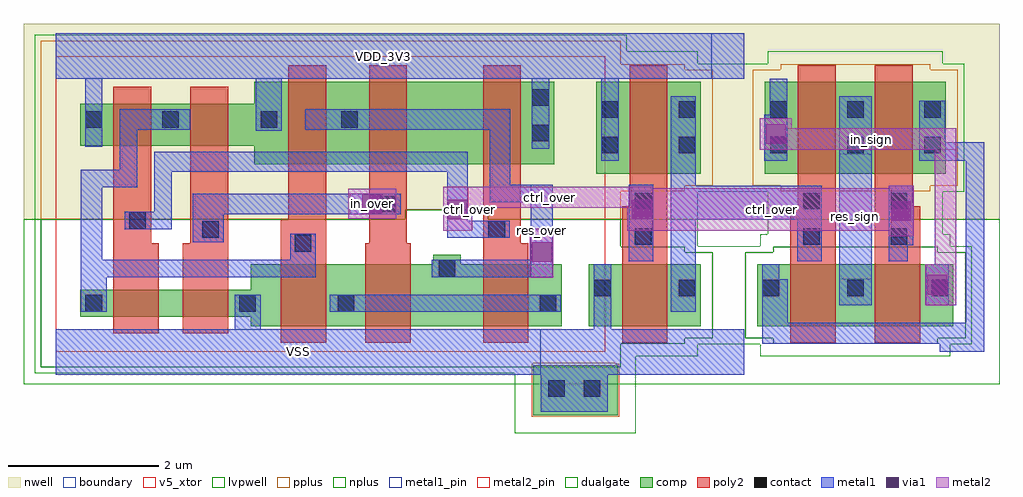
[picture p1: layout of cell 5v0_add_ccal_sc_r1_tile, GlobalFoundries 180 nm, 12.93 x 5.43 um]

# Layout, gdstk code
import gdstk
lib = gdstk.Library(unit=1e-6, precision=1e-09)
def R(c, l, rs):  # rectangles x0, y0, x1, y1
    for r in rs: c.add(gdstk.rectangle(r[:2], r[2:], *l))
def A(c, l, x, y, w, h, nx, ny, dx, dy):  # array of equal rectangles
    R(c, l, [(x+i*dx, y+j*dy, x+i*dx+w, y+j*dy+h) for i in range(nx) for j in range(ny)])
def P(c, l, *ps):  # polygons
    for p in ps: c.add(gdstk.Polygon(p, *l))
boundary = (0, 0)
nwell = (21, 0)
comp = (22, 0)
poly2 = (30, 0)
pplus = (31, 0)
nplus = (32, 0)
contact = (33, 0)
metal1 = (34, 0)
metal1_pin = (34, 10)
via1 = (35, 0)
metal2 = (36, 0)
metal2_pin = (36, 10)
dualgate = (55, 0)
v5_xtor = (112, 1)
lvpwell = (204, 0)

gf180mcu_fd_sc_mcu7t5v0_ = lib.new_cell('gf180mcu_fd_sc_mcu7t5v0__xnor2_1')
R(gf180mcu_fd_sc_mcu7t5v0_, boundary, [(0,0,7.28,3.92)])
P(gf180mcu_fd_sc_mcu7t5v0_, nwell, [(-0.43,1.76),(-0.43,4.35),(7.71,4.35),(7.71,1.76),(5.73,1.76),(5.73,1.885),(4.63,1.885),(4.63,1.76)])
P(gf180mcu_fd_sc_mcu7t5v0_, comp, [(2.63,2.485),(2.63,2.73),(0.32,2.73),(0.32,3.29),(2.63,3.29),(2.63,3.58),(6.6,3.58),(6.6,2.485)],
  [(2.58,0.34),(2.58,0.465),(0.32,0.465),(0.32,0.825),(2.58,0.825),(2.58,1.16),(5,1.16),(5,1.285),(5.36,1.285),(5.36,1.16),(6.7,1.16),(6.7,0.34)])
P(gf180mcu_fd_sc_mcu7t5v0_, poly2, [(0.76,0.245),(0.76,3.51),(1.26,3.51),(1.26,1.44),(1.36,1.44),(1.36,0.245)],
  [(1.68,0.245),(1.68,1.44),(1.78,1.44),(1.78,3.51),(2.28,3.51),(2.28,0.245)],
  [(2.98,0.12),(2.98,1.75),(3.08,1.75),(3.08,3.8),(3.58,3.8),(3.58,0.12)],
  [(4.1,0.12),(4.1,1.44),(4.15,1.44),(4.15,3.8),(4.65,3.8),(4.65,1.44),(4.7,1.44),(4.7,0.12)],
  [(5.66,0.12),(5.66,3.8),(6.16,3.8),(6.16,1.44),(6.26,1.44),(6.26,0.12)])
P(gf180mcu_fd_sc_mcu7t5v0_, pplus, [(-0.2,1.76),(-0.2,4.12),(7.48,4.12),(7.48,1.76),(5.73,1.76),(5.73,1.885),(4.63,1.885),(4.63,1.76)])
P(gf180mcu_fd_sc_mcu7t5v0_, nplus, [(-0.2,-0.2),(-0.2,1.76),(4.63,1.76),(4.63,1.885),(5.73,1.885),(5.73,1.76),(7.48,1.76),(7.48,-0.2)])
R(gf180mcu_fd_sc_mcu7t5v0_, contact, [(0.39,0.535,0.61,0.755), (2.43,0.535,2.65,0.755), (3.73,0.535,3.95,0.755), (6.41,0.535,6.63,0.755), (5.07,0.995,5.29,1.215), (3.165,1.33,3.385,1.55), (1.935,1.51,2.155,1.73), (5.73,1.515,5.95,1.735), (0.97,1.63,1.19,1.85), (4.29,1.85,4.51,2.07), (6.31,2.79,6.53,3.01), (0.39,2.97,0.61,3.19), (1.41,2.97,1.63,3.19), (2.71,2.97,2.93,3.19), (3.78,2.97,4,3.19), (6.31,3.26,6.53,3.48)])
R(gf180mcu_fd_sc_mcu7t5v0_, metal1, [(3.63,0.53,6.69,0.76)])
P(gf180mcu_fd_sc_mcu7t5v0_, metal1, [(0.33,0.53),(0.33,2.415),(0.845,2.415),(0.845,3.215),(1.78,3.215),(1.78,2.945),(1.075,2.945),(1.075,2.18),(0.615,2.18),(0.615,1.22),(3.105,1.22),(3.105,1.565),(3.445,1.565),(3.445,0.99),(0.67,0.99),(0.67,0.53)],
  [(1.815,1.45),(1.815,2.095),(4.57,2.095),(4.57,1.825),(2.22,1.825),(2.22,1.45)],
  [(5.185,1.51),(5.185,2.385),(1.535,2.385),(1.535,1.625),(0.91,1.625),(0.91,1.855),(1.305,1.855),(1.305,2.655),(5.455,2.655),(5.455,1.74),(6.01,1.74),(6.01,1.51)],
  [(4.98,0.99),(4.98,1.22),(6.29,1.22),(6.29,1.98),(5.745,1.98),(5.745,2.945),(3.305,2.945),(3.305,3.215),(6.02,3.215),(6.02,2.215),(6.58,2.215),(6.58,0.99)],
  [(0,-0.3),(0,0.3),(2.37,0.3),(2.37,0.76),(2.71,0.76),(2.71,0.3),(7.28,0.3),(7.28,-0.3)],
  [(6.305,2.69),(6.305,3.62),(2.99,3.62),(2.99,2.93),(2.65,2.93),(2.65,3.62),(0.615,3.62),(0.615,2.72),(0.385,2.72),(0.385,3.62),(0,3.62),(0,4.22),(7.28,4.22),(7.28,3.62),(6.535,3.62),(6.535,2.69)])
R(gf180mcu_fd_sc_mcu7t5v0_, dualgate, [(-0.28,-0.28,7.56,4.2)])
R(gf180mcu_fd_sc_mcu7t5v0_, v5_xtor, [(0,0,7.28,3.92)])
P(gf180mcu_fd_sc_mcu7t5v0_, lvpwell, [(-0.43,-0.43),(-0.43,1.76),(4.63,1.76),(4.63,1.885),(5.73,1.885),(5.73,1.76),(7.71,1.76),(7.71,-0.43)])
gf180mcu_fd_sc_mcu7t5v0_.add(gdstk.Label('VDD', (0.5,3.57), layer=34, texttype=10))
gf180mcu_fd_sc_mcu7t5v0_.add(gdstk.Label('VSS', (2.54,0.35), layer=34, texttype=10))
gf180mcu_fd_sc_mcu7t5v0_.add(gdstk.Label('ZN', (5.88,2.52), layer=34, texttype=10))
gf180mcu_fd_sc_mcu7t5v0_.add(gdstk.Label('A1', (3.08,1.96), layer=34, texttype=10))
gf180mcu_fd_sc_mcu7t5v0_.add(gdstk.Label('A2', (3.64,2.52), layer=34, texttype=10))
gf180mcu_fd_sc_mcu7t5v0_.add(gdstk.Label('& Vendor GLOBALFOUNDRIES', (0,2), layer=63, texttype=63))
gf180mcu_fd_sc_mcu7t5v0_.add(gdstk.Label('& Product GF018hv5v_mcu_sc7', (0,1.5), layer=63, texttype=63))
gf180mcu_fd_sc_mcu7t5v0_.add(gdstk.Label('& Version 2015q2v1', (0,1), layer=63, texttype=63))
gf180mcu_fd_sc_mcu7t5v0_.add(gdstk.Label('& Metric 1.00', (0,0.5), layer=63, texttype=63))
gf180mcu_fd_sc_mcu7t5v0_.add(gdstk.Label('VNW', (0.345,3.92), layer=21, texttype=10))
gf180mcu_fd_sc_mcu7t5v0_.add(gdstk.Label('VPW', (0.34,-0.085), layer=204, texttype=10))

c_5v0_add_ccal_sc_r1_tile = lib.new_cell('5v0_add_ccal_sc_r1_tile')
R(c_5v0_add_ccal_sc_r1_tile, nwell, [(-2.95,1.2,3.1,3.79)])
R(c_5v0_add_ccal_sc_r1_tile, comp, [(-3.08,-1.4,-1.96,-0.735), (-2.34,-0.22,-0.86,0.6), (-0.11,-0.22,2.49,0.6), (-2.24,1.8,-0.86,3.02), (-0.01,1.8,2.39,3.02)])
R(c_5v0_add_ccal_sc_r1_tile, poly2, [(-1.9,-0.44,-1.3,1.37), (0.33,-0.44,0.93,1.37), (1.45,-0.44,2.05,1.37), (-1.8,1.37,-1.3,3.24), (0.43,1.37,0.93,3.24), (1.45,1.37,1.95,3.24)])
R(c_5v0_add_ccal_sc_r1_tile, pplus, [(-3.1,-1.42,-1.94,-0.715), (-3.075,-0.715,-1.995,-0.705), (-2.03,1.57,-1.07,1.64), (0.2,1.57,2.18,1.64), (-2.4,1.64,-0.7,1.765), (-0.17,1.64,2.55,3.18), (-2.64,1.765,-0.7,3.18), (-2.03,3.18,-1.07,3.25), (0.2,3.18,2.18,3.25)])
R(c_5v0_add_ccal_sc_r1_tile, nplus, [(-2.13,-0.45,-1.07,-0.38), (0.1,-0.45,2.28,-0.38), (-2.54,-0.38,-0.7,0.76), (-0.27,-0.38,2.65,0.76), (-2.13,0.76,-1.07,0.83), (0.1,0.76,2.28,0.83)])
A(c_5v0_add_ccal_sc_r1_tile, contact, -0.04, 0.175, 0.22, 0.22, 3, 1, 1.12, 0)
A(c_5v0_add_ccal_sc_r1_tile, contact, 0.06, 2.07, 0.22, 0.22, 3, 2, 1.02, 0.47)
R(c_5v0_add_ccal_sc_r1_tile, contact, [(-2.88,-1.155,-2.66,-0.935), (-2.41,-1.155,-2.19,-0.935), (-2.27,0.175,-2.05,0.395), (-1.15,0.175,-0.93,0.395), (-1.73,0.86,-1.51,1.08), (0.5,0.86,0.72,1.08), (1.66,0.86,1.88,1.08), (-1.73,1.33,-1.51,1.55), (0.5,1.33,0.72,1.55), (1.66,1.33,1.88,1.55), (-2.17,2.07,-1.95,2.29), (-1.15,2.07,-0.93,2.29), (-2.17,2.54,-1.95,2.76), (-1.15,2.54,-0.93,2.76)])
R(c_5v0_add_ccal_sc_r1_tile, metal1, [(-2.98,-1.35,-2.09,-0.86), (-9.4,-0.86,-0.28,-0.26), (2.31,-0.555,2.895,-0.45), (-0.045,-0.45,2.895,-0.175), (-2.275,-0.26,-2.045,0.6), (-0.045,-0.175,0.295,0.4), (2.655,-0.175,2.895,1.97), (-1.255,-0.03,-0.925,1.2), (0.975,0.06,1.405,2.83), (2.125,0.06,2.425,0.6), (-0.045,0.4,0.185,0.6), (-3.11,0.43,-2.82,1.655), (-1.81,0.64,-1.485,1.655), (0.42,0.64,0.745,1.2), (1.635,0.64,1.885,0.855), (1.635,0.855,1.96,1.64), (-4.21,1.055,-3.945,1.595), (-1.255,1.2,0.745,1.64), (-5.51,1.265,-4.91,1.535), (-1.255,1.64,-0.925,2.83), (-2.175,1.97,-1.945,3.06), (-0.015,1.97,0.285,2.585), (2.04,1.97,2.895,2.22), (2.04,2.22,2.38,2.765), (0.055,2.585,0.285,3.06), (-9.4,3.06,-0.28,3.66)])
R(c_5v0_add_ccal_sc_r1_tile, metal1_pin, [(-9.4,-0.86,-2.98,-0.26), (0.975,0.4,1.405,2.065), (-3.11,0.43,-2.82,1.655), (-9.4,3.06,-0.71,3.66)])
R(c_5v0_add_ccal_sc_r1_tile, via1, [(2.145,0.2,2.405,0.46), (-3.095,0.635,-2.835,0.895), (1.67,1.175,1.93,1.435), (-4.21,1.195,-3.95,1.455), (-1.77,1.195,-1.51,1.455), (-5.34,1.27,-5.08,1.53), (0.005,2.195,0.265,2.455)])
R(c_5v0_add_ccal_sc_r1_tile, metal2, [(2.115,0.06,2.525,0.6), (-3.11,0.425,-2.82,0.43), (-3.12,0.43,-2.81,1.07), (2.245,0.6,2.525,2.12), (1.63,0.97,1.965,1.045), (-4.27,1.045,-3.885,1.35), (-1.83,1.045,1.965,1.35), (-5.525,1.205,-4.895,1.6), (-4.27,1.35,1.965,1.605), (-4.27,1.605,-1.485,1.63), (1.63,1.605,1.965,1.64), (-0.075,2.12,2.525,2.4), (-0.075,2.4,0.345,2.535)])
R(c_5v0_add_ccal_sc_r1_tile, metal2_pin, [(-1.505,1.045,1.67,1.605), (-5.51,1.265,-4.91,1.535), (-3.945,1.35,-1.77,1.63), (0.285,2.12,2.525,2.4)])
R(c_5v0_add_ccal_sc_r1_tile, dualgate, [(-3.32,-1.64,-1.72,-0.62), (-3.32,-0.62,-0.9,-0.495), (-0.07,-0.62,2.45,-0.46), (-2.74,-0.495,-0.9,-0.46), (-2.58,-0.46,2.73,0.84), (-2.3,0.84,-0.9,1), (-0.07,0.84,2.45,1), (-2.2,1,-0.9,1.56), (0.03,1,2.35,1.56), (-2.84,1.56,2.63,1.685), (-2.56,1.685,2.63,3.26), (-2.2,3.26,-0.9,3.42), (0.03,3.26,2.35,3.42)])
R(c_5v0_add_ccal_sc_r1_tile, lvpwell, [(-2.95,-0.99,3.1,1.2)])
c_5v0_add_ccal_sc_r1_tile.add(gdstk.Reference(gf180mcu_fd_sc_mcu7t5v0_, (-9.4,-0.56)))
c_5v0_add_ccal_sc_r1_tile.add(gdstk.Label('ctrl_over', (-3.92,1.325), layer=36, texttype=0))
c_5v0_add_ccal_sc_r1_tile.add(gdstk.Label('ctrl_over', (-2.857,1.49), layer=36, texttype=10))
c_5v0_add_ccal_sc_r1_tile.add(gdstk.Label('ctrl_over', (0.082,1.325), layer=36, texttype=10))
c_5v0_add_ccal_sc_r1_tile.add(gdstk.Label('res_sign', (1.19,1.232), layer=34, texttype=10))
c_5v0_add_ccal_sc_r1_tile.add(gdstk.Label('in_sign', (1.405,2.26), layer=36, texttype=10))
c_5v0_add_ccal_sc_r1_tile.add(gdstk.Label('res_over', (-2.965,1.042), layer=34, texttype=10))
c_5v0_add_ccal_sc_r1_tile.add(gdstk.Label('in_over', (-5.21,1.4), layer=34, texttype=10))
c_5v0_add_ccal_sc_r1_tile.add(gdstk.Label('VDD_3V3', (-5.055,3.36), layer=34, texttype=10))
c_5v0_add_ccal_sc_r1_tile.add(gdstk.Label('VSS', (-6.19,-0.56), layer=34, texttype=10))

lib.write_gds('5v0_add_ccal_sc_r1_tile.gds')
